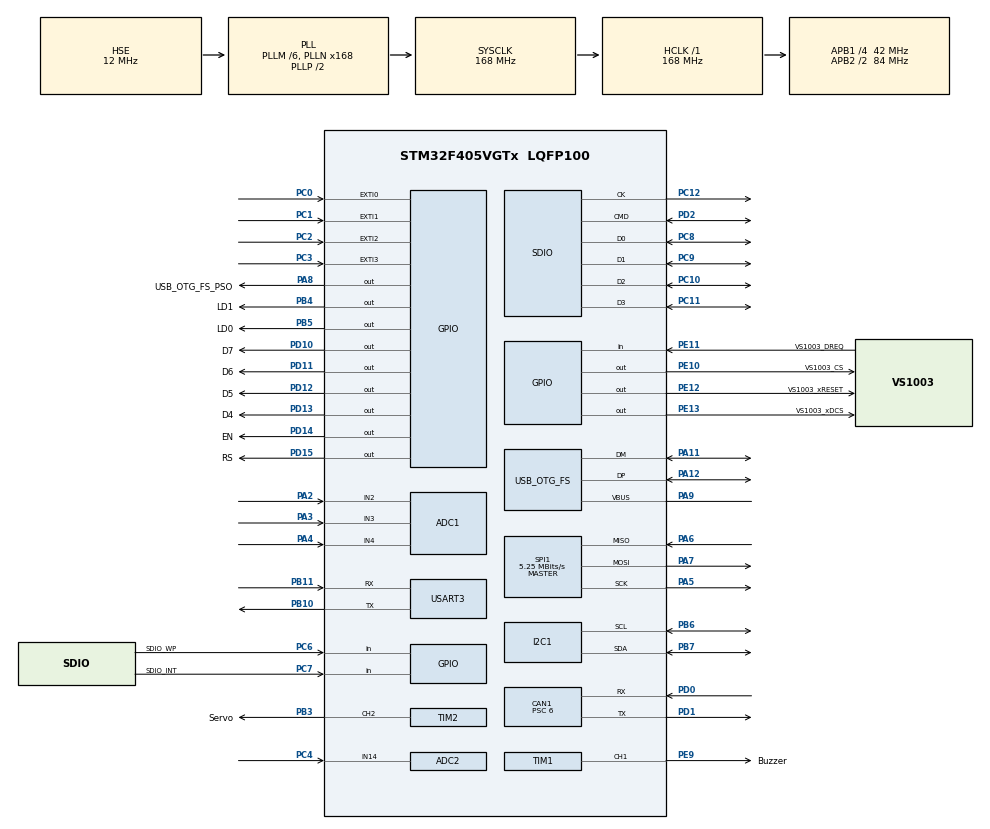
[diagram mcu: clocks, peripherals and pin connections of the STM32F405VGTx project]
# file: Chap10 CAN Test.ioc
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ADC1.Channel-0\#ChannelRegularConversion=ADC_CHANNEL_2
ADC1.Channel-1\#ChannelRegularConversion=ADC_CHANNEL_3
ADC1.Channel-2\#ChannelRegularConversion=ADC_CHANNEL_4
ADC1.ClockPrescaler=ADC_CLOCK_SYNC_PCLK_DIV4
ADC1.ContinuousConvMode=ENABLE
ADC1.DMAContinuousRequests=ENABLE
ADC1.DiscontinuousConvMode=DISABLE
ADC1.EnableAnalogWatchDog=false
ADC1.InjNumberOfConversion=0
ADC1.NbrOfConversion=3
ADC1.NbrOfConversionFlag=1
ADC1.Rank-0\#ChannelRegularConversion=1
ADC1.Rank-1\#ChannelRegularConversion=2
ADC1.Rank-2\#ChannelRegularConversion=3
ADC1.SamplingTime-0\#ChannelRegularConversion=ADC_SAMPLETIME_84CYCLES
ADC1.SamplingTime-1\#ChannelRegularConversion=ADC_SAMPLETIME_84CYCLES
ADC1.SamplingTime-2\#ChannelRegularConversion=ADC_SAMPLETIME_84CYCLES
ADC1.ScanConvMode=ENABLE
ADC1.master=1
ADC2.Channel-1\#ChannelRegularConversion=ADC_CHANNEL_14
ADC2.ClockPrescaler=ADC_CLOCK_SYNC_PCLK_DIV4
ADC2.ContinuousConvMode=ENABLE
ADC2.DMAContinuousRequests=ENABLE
ADC2.NbrOfConversionFlag=1
ADC2.Rank-1\#ChannelRegularConversion=1
ADC2.SamplingTime-1\#ChannelRegularConversion=ADC_SAMPLETIME_84CYCLES
ADC2.ScanConvMode=DISABLE
CAN1.BS1=CAN_BS1_11TQ
CAN1.BS2=CAN_BS2_2TQ
CAN1.CalculateBaudRate=500000
CAN1.CalculateTimeBit=2000
CAN1.CalculateTimeQuantum=142.85714285714286
CAN1.Prescaler=6
CAN1.SJW=CAN_SJW_1TQ
Dma.ADC1.0.Direction=DMA_PERIPH_TO_MEMORY
Dma.ADC1.0.FIFOMode=DMA_FIFOMODE_DISABLE
Dma.ADC1.0.Instance=DMA2_Stream0
Dma.ADC1.0.MemDataAlignment=DMA_MDATAALIGN_HALFWORD
Dma.ADC1.0.MemInc=DMA_MINC_ENABLE
Dma.ADC1.0.Mode=DMA_CIRCULAR
Dma.ADC1.0.PeriphDataAlignment=DMA_PDATAALIGN_HALFWORD
Dma.ADC1.0.PeriphInc=DMA_PINC_DISABLE
Dma.ADC1.0.Priority=DMA_PRIORITY_LOW
Dma.ADC2.1.Direction=DMA_PERIPH_TO_MEMORY
Dma.ADC2.1.FIFOMode=DMA_FIFOMODE_DISABLE
Dma.ADC2.1.Instance=DMA2_Stream2
Dma.ADC2.1.MemDataAlignment=DMA_MDATAALIGN_HALFWORD
Dma.ADC2.1.MemInc=DMA_MINC_DISABLE
Dma.ADC2.1.Mode=DMA_CIRCULAR
Dma.ADC2.1.PeriphDataAlignment=DMA_PDATAALIGN_HALFWORD
Dma.ADC2.1.PeriphInc=DMA_PINC_DISABLE
Dma.ADC2.1.Priority=DMA_PRIORITY_LOW
Dma.Request0=ADC1
Dma.Request1=ADC2
Dma.Request2=SDIO_RX
Dma.Request3=SDIO_TX
Dma.SDIO_RX.2.Direction=DMA_PERIPH_TO_MEMORY
Dma.SDIO_RX.2.FIFOMode=DMA_FIFOMODE_ENABLE
Dma.SDIO_RX.2.FIFOThreshold=DMA_FIFO_THRESHOLD_FULL
Dma.SDIO_RX.2.Instance=DMA2_Stream3
Dma.SDIO_RX.2.MemBurst=DMA_MBURST_INC4
Dma.SDIO_RX.2.MemDataAlignment=DMA_MDATAALIGN_WORD
Dma.SDIO_RX.2.MemInc=DMA_MINC_ENABLE
Dma.SDIO_RX.2.Mode=DMA_PFCTRL
Dma.SDIO_RX.2.PeriphBurst=DMA_PBURST_INC4
Dma.SDIO_RX.2.PeriphDataAlignment=DMA_PDATAALIGN_WORD
Dma.SDIO_RX.2.PeriphInc=DMA_PINC_DISABLE
Dma.SDIO_RX.2.Priority=DMA_PRIORITY_LOW
Dma.SDIO_TX.3.Direction=DMA_MEMORY_TO_PERIPH
Dma.SDIO_TX.3.FIFOMode=DMA_FIFOMODE_ENABLE
Dma.SDIO_TX.3.FIFOThreshold=DMA_FIFO_THRESHOLD_FULL
Dma.SDIO_TX.3.Instance=DMA2_Stream6
Dma.SDIO_TX.3.MemBurst=DMA_MBURST_INC4
Dma.SDIO_TX.3.MemDataAlignment=DMA_MDATAALIGN_WORD
Dma.SDIO_TX.3.MemInc=DMA_MINC_ENABLE
Dma.SDIO_TX.3.Mode=DMA_PFCTRL
Dma.SDIO_TX.3.PeriphBurst=DMA_PBURST_INC4
Dma.SDIO_TX.3.PeriphDataAlignment=DMA_PDATAALIGN_WORD
Dma.SDIO_TX.3.PeriphInc=DMA_PINC_DISABLE
Dma.SDIO_TX.3.Priority=DMA_PRIORITY_LOW
FATFS.USE_DMA_CODE_SD=1
FATFS._MAX_SS=4096
FATFS._USE_LFN=1
I2C1.I2C_Mode=I2C_Fast
Mcu.Family=STM32F4
Mcu.Name=STM32F405VGTx
Mcu.Package=LQFP100
NVIC.CAN1_RX0_IRQn=true\:0\:0\:false\:true\:true\:8\:true\:true\:true
NVIC.DMA2_Stream0_IRQn=true\:0\:0\:false\:false\:true\:false\:true\:true
NVIC.DMA2_Stream2_IRQn=true\:0\:0\:false\:false\:true\:false\:true\:true
NVIC.DMA2_Stream3_IRQn=true\:0\:0\:false\:false\:true\:false\:true\:true
NVIC.DMA2_Stream6_IRQn=true\:0\:0\:false\:false\:true\:false\:true\:true
NVIC.EXTI0_IRQn=true\:0\:0\:false\:true\:true\:1\:true\:true\:true
NVIC.EXTI1_IRQn=true\:0\:0\:false\:true\:true\:2\:true\:true\:true
NVIC.EXTI2_IRQn=true\:0\:0\:false\:true\:true\:3\:true\:true\:true
NVIC.EXTI3_IRQn=true\:0\:0\:false\:true\:true\:7\:true\:true\:true
NVIC.OTG_FS_IRQn=true\:0\:0\:false\:false\:true\:false\:true\:true
NVIC.PriorityGroup=NVIC_PRIORITYGROUP_4
NVIC.SDIO_IRQn=true\:0\:0\:false\:false\:true\:true\:true\:true
NVIC.TIM6_DAC_IRQn=true\:0\:0\:false\:true\:true\:5\:true\:true\:true
NVIC.TIM7_IRQn=true\:0\:0\:false\:true\:true\:6\:true\:true\:true
NVIC.USART3_IRQn=true\:0\:0\:false\:true\:true\:4\:true\:true\:true
PA11.Mode=Host_Only
PA11.Signal=USB_OTG_FS_DM
PA12.Mode=Host_Only
PA12.Signal=USB_OTG_FS_DP
PA2.Signal=ADCx_IN2
PA3.Signal=ADCx_IN3
PA4.Signal=ADCx_IN4
PA5.Mode=Full_Duplex_Master
PA5.Signal=SPI1_SCK
PA6.Mode=Full_Duplex_Master
PA6.Signal=SPI1_MISO
PA7.Mode=Full_Duplex_Master
PA7.Signal=SPI1_MOSI
PA8.GPIO_Label=USB_OTG_FS_PSO
PA8.Signal=GPIO_Output
PA9.Mode=Activate_VBUS
PA9.Signal=USB_OTG_FS_VBUS
PB10.Mode=Asynchronous
PB10.Signal=USART3_TX
PB11.Mode=Asynchronous
PB11.Signal=USART3_RX
PB3.GPIO_Label=Servo
PB3.Signal=S_TIM2_CH2
PB4.GPIO_Label=LD1
PB4.Signal=GPIO_Output
PB5.GPIO_Label=LD0
PB5.Signal=GPIO_Output
PB6.Mode=I2C
PB6.Signal=I2C1_SCL
PB7.Mode=I2C
PB7.Signal=I2C1_SDA
PC0.GPIO_ModeDefaultEXTI=GPIO_MODE_IT_FALLING
PC0.Signal=GPXTI0
PC1.GPIO_ModeDefaultEXTI=GPIO_MODE_IT_FALLING
PC1.Signal=GPXTI1
PC10.Mode=SD_4_bits_Wide_bus
PC10.Signal=SDIO_D2
PC11.Mode=SD_4_bits_Wide_bus
PC11.Signal=SDIO_D3
PC12.Mode=SD_4_bits_Wide_bus
PC12.Signal=SDIO_CK
PC2.GPIO_ModeDefaultEXTI=GPIO_MODE_IT_FALLING
PC2.Signal=GPXTI2
PC3.Signal=GPXTI3
PC4.Signal=ADCx_IN14
PC6.GPIO_Label=SDIO_WP
PC6.Signal=GPIO_Input
PC7.GPIO_Label=SDIO_INT
PC7.Signal=GPIO_Input
PC8.Mode=SD_4_bits_Wide_bus
PC8.Signal=SDIO_D0
PC9.Mode=SD_4_bits_Wide_bus
PC9.Signal=SDIO_D1
PD0.Mode=CAN_Activate
PD0.Signal=CAN1_RX
PD1.Mode=CAN_Activate
PD1.Signal=CAN1_TX
PD10.GPIO_Label=D7
PD10.Signal=GPIO_Output
PD11.GPIO_Label=D6
PD11.Signal=GPIO_Output
PD12.GPIO_Label=D5
PD12.Signal=GPIO_Output
PD13.GPIO_Label=D4
PD13.Signal=GPIO_Output
PD14.GPIO_Label=EN
PD14.Signal=GPIO_Output
PD15.GPIO_Label=RS
PD15.Signal=GPIO_Output
PD2.Mode=SD_4_bits_Wide_bus
PD2.Signal=SDIO_CMD
PE10.GPIO_Label=VS1003_CS
PE10.Signal=GPIO_Output
PE11.GPIO_Label=VS1003_DREQ
PE11.Signal=GPIO_Input
PE12.GPIO_Label=VS1003_xRESET
PE12.Signal=GPIO_Output
PE13.GPIO_Label=VS1003_xDCS
PE13.Signal=GPIO_Output
PE9.GPIO_Label=Buzzer
PE9.Signal=S_TIM1_CH1
PH0-OSC_IN.Mode=HSE-External-Oscillator
PH0-OSC_IN.Signal=RCC_OSC_IN
PH1-OSC_OUT.Mode=HSE-External-Oscillator
PH1-OSC_OUT.Signal=RCC_OSC_OUT
ProjectManager.HeapSize=0x200
ProjectManager.StackSize=0x400
ProjectManager.TargetToolchain=STM32CubeIDE
RCC.48MHZClocksFreq_Value=48000000
RCC.AHBFreq_Value=168000000
RCC.APB1CLKDivider=RCC_HCLK_DIV4
RCC.APB1Freq_Value=42000000
RCC.APB1TimFreq_Value=84000000
RCC.APB2CLKDivider=RCC_HCLK_DIV2
RCC.APB2Freq_Value=84000000
RCC.APB2TimFreq_Value=168000000
RCC.CortexFreq_Value=168000000
RCC.HCLKFreq_Value=168000000
RCC.HSE_VALUE=12000000
RCC.HSI_VALUE=16000000
RCC.LSE_VALUE=32768
RCC.PLLM=6
RCC.PLLN=168
RCC.PLLQ=7
RCC.SYSCLKFreq_VALUE=168000000
RCC.SYSCLKSource=RCC_SYSCLKSOURCE_PLLCLK
RCC.VCOOutputFreq_Value=336000000
SH.ADCx_IN14.0=ADC2_IN14,IN14
SH.ADCx_IN2.0=ADC1_IN2,IN2
SH.ADCx_IN3.0=ADC1_IN3,IN3
SH.ADCx_IN4.0=ADC1_IN4,IN4
SH.S_TIM1_CH1.0=TIM1_CH1,PWM Generation1 CH1
SH.S_TIM2_CH2.0=TIM2_CH2,PWM Generation2 CH2
SPI1.BaudRatePrescaler=SPI_BAUDRATEPRESCALER_16
SPI1.CalculateBaudRate=5.25 MBits/s
SPI1.Direction=SPI_DIRECTION_2LINES
SPI1.Mode=SPI_MODE_MASTER
SPI1.VirtualType=VM_MASTER
TIM1.Channel-PWM\ Generation1\ CH1=TIM_CHANNEL_1
TIM1.Period=999
TIM1.Prescaler=167
TIM1.Pulse-PWM\ Generation1\ CH1=500
TIM2.Channel-PWM\ Generation2\ CH2=TIM_CHANNEL_2
TIM2.Period=10000-1
TIM2.Prescaler=168-1
TIM2.Pulse-PWM\ Generation2\ CH2=100
TIM4.Prescaler=83
TIM6.AutoReloadPreload=TIM_AUTORELOAD_PRELOAD_DISABLE
TIM6.Period=10000-1
TIM6.Prescaler=8400-1
TIM7.Period=9999
TIM7.Prescaler=4200-1
USART3.VirtualMode=VM_ASYNC
USB_HOST.USBH_HandleTypeDef-MSC_FS=hUsbHostFS
USB_HOST.VirtualModeFS=Msc
USB_OTG_FS.Sof_enable=DISABLE
USB_OTG_FS.VirtualMode=Host_Only
USB_OTG_FS.phy_itface=HCD_PHY_EMBEDDED
VP_FATFS_VS_SDIO.Mode=SDIO
VP_FATFS_VS_USB.Mode=USB
VP_TIM1_VS_ClockSourceINT.Mode=Internal
VP_TIM2_VS_ClockSourceINT.Mode=Internal
VP_TIM4_VS_ClockSourceINT.Mode=Internal
VP_TIM6_VS_ClockSourceINT.Mode=Enable_Timer
VP_TIM7_VS_ClockSourceINT.Mode=Enable_Timer
VP_USB_HOST_VS_USB_HOST_MSC_FS.Mode=MSC_FS
board=custom

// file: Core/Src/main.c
/* USER CODE BEGIN Header */
/**
  ******************************************************************************
  * @file           : main.c
  * @brief          : Main program body
  ******************************************************************************
  * @attention
  *
  * Copyright (c) 2025 STMicroelectronics.
  * All rights reserved.
  *
  * This software is licensed under terms that can be found in the LICENSE file
  * in the root directory of this software component.
  * If no LICENSE file comes with this software, it is provided AS-IS.
  *
  ******************************************************************************
  */
/* USER CODE END Header */
#include "main.h"
#include "adc.h"
#include "can.h"
#include "dma.h"
#include "fatfs.h"
#include "i2c.h"
#include "sdio.h"
#include "spi.h"
#include "tim.h"
#include "usart.h"
#include "usb_host.h"
#include "gpio.h"

/* USER CODE BEGIN Includes */
#include "stdio.h"
#include "string.h"
#include "CLCD.h"
#include "VS1003.h"
#include "AS6221.h"

/* USER CODE END Includes */

/* USER CODE BEGIN PD */
#define AS6221_ADDR1        (0x48 << 1)
#define AS6221_ADDR2        (0x49 << 1)

/* USER CODE END PD */

/* USER CODE BEGIN PM */
int _write(int file, char* p, int len){
	HAL_UART_Transmit(&huart3, p, len, 10);
	return len;
}

/* USER CODE END PM */

/* USER CODE BEGIN PV */
uint8_t rx_data = 0;
uint8_t lcd_flag = 0;

uint16_t adc1_val[3] = {0,};
uint16_t adc2_val = 0;

volatile uint8_t sw0_flag = 0;
volatile uint8_t sw1_flag = 0;
volatile uint8_t sw2_flag = 0;
volatile uint8_t sw3_flag = 0;

volatile uint8_t can1_rx0_flag = 0;

uint32_t bytesWritten, bytesRead;
extern ApplicationTypeDef Appli_state;

uint8_t NEXT = 0;

uint8_t str[21];

AS6221_t as6221[2];

/* USER CODE END PV */

void SystemClock_Config(void);
static void MX_NVIC_Init(void);
void MX_USB_HOST_Process(void);

/* USER CODE BEGIN 0 */
long map(long x, long in_min, long in_max, long out_min, long out_max) {
  return (x - in_min) * (out_max - out_min) / (in_max - in_min) + out_min;
}

/* USER CODE END 0 */

int main(void)
{

  /* MCU Configuration--------------------------------------------------------*/

  /* Reset of all peripherals, Initializes the Flash interface and the Systick. */
  HAL_Init();

  /* Configure the system clock */
  SystemClock_Config();

  /* Initialize all configured peripherals */
  MX_GPIO_Init();
  MX_DMA_Init();
  MX_USART3_UART_Init();
  MX_TIM4_Init();
  MX_ADC1_Init();
  MX_ADC2_Init();
  MX_TIM1_Init();
  MX_TIM6_Init();
  MX_TIM7_Init();
  MX_TIM2_Init();
  MX_FATFS_Init();
  MX_USB_HOST_Init();
  MX_SDIO_SD_Init();
  MX_SPI1_Init();
  MX_I2C1_Init();
  MX_CAN1_Init();

  /* Initialize interrupts */
  MX_NVIC_Init();
  /* USER CODE BEGIN 2 */
  HAL_TIM_Base_Start_IT(&htim6);
//  HAL_TIM_Base_Start_IT(&htim7);

  lcd_Init(20, 4);
  lcd_clear();

  as6221[0].address = AS6221_ADDR1;
  as6221[0].CR = ConvPer125ms;
  as6221[0].CF = Quadruple;
  as6221[0].SM = false;
  as6221[0].IM = false;
  as6221[0].POL = false;
  as6221[0].SS = false;

  as6221[1] = as6221[0];
  as6221[1].address = AS6221_ADDR2;

  AS6221_Init(&as6221[0]);
  AS6221_Init(&as6221[1]);

  // FilterScale을 16bit로 할 경우 상위 하위 데이터는 의미 없고 필터가 2쌍이 되는것임(32bit일 경우 유효해짐)
  canFilter1.FilterMaskIdHigh = 0x538 << 5;
  canFilter1.FilterMaskIdLow = 0x538 << 5;
  canFilter1.FilterIdHigh = 0x3AA << 5;
  canFilter1.FilterIdLow = 0x3AA << 5;
  canFilter1.FilterMode = CAN_FILTERMODE_IDMASK; // ID List, ID Mask 모드중 Mask 모드로 설정
  canFilter1.FilterScale = CAN_FILTERSCALE_16BIT; // 필터 스케일을 16bit로 설정
  canFilter1.FilterFIFOAssignment = CAN_FILTER_FIFO0; // FIFO 0번을 사용
  canFilter1.FilterBank = 0; // 0번 필터 규칙으로 설정
  canFilter1.FilterActivation = ENABLE; // 설정된 필터 값 활성화 여부 설정(즉시 활성화)

  HAL_CAN_ConfigFilter(&hcan1, &canFilter1); // 설정한 필터값 전달
  HAL_CAN_ActivateNotification(&hcan1, CAN_IT_RX_FIFO0_MSG_PENDING); // CAN 수신 인터럽트 활성화
  HAL_CAN_Start(&hcan1); // CAN 버스 활성화

  /* USER CODE END 2 */

  /* Infinite loop */
  while (1)
  {
    MX_USB_HOST_Process();

    /* USER CODE BEGIN 3 */
    if(lcd_flag) {
    	lcd_flag = false;
		AS6221_ReadTemperature(&as6221[0]);
		AS6221_ReadTemperature(&as6221[1]);

		int16_t temp1_int = (int16_t)(as6221[0].Temp * 100);
		int16_t temp2_int = (int16_t)(as6221[1].Temp * 100);

		can1Tx0Data[0] = temp1_int & 0xFF; // Temp 1 하위 바이트
		can1Tx0Data[1] = (temp1_int >> 8) & 0xFF; // Temp 1 위 바이트

		can1Tx0Data[2] = temp2_int & 0xFF; // Temp 2 하위 바이트
		can1Tx0Data[3] = (temp2_int >> 8) & 0xFF; // Temp 2 하위 바이트
    }

    if(can1_rx0_flag) {
   		  can1_rx0_flag = false;

		  int16_t raw_temp1 = (can1Rx0Data[1] << 8) | can1Rx0Data[0];
		  int16_t raw_temp2 = (can1Rx0Data[3] << 8) | can1Rx0Data[2];

		  double f_temp1 = raw_temp1 / 100.0f;
		  double f_temp2 = raw_temp2 / 100.0f;

		  lcd_clear();

   		  sprintf(str, "Rx ID:0x%3X", canRxHeader.StdId);
   		  lcd_setCurStr(0, 0, str);

		  sprintf(str, "Temp1: %.2f C", f_temp1);
		  lcd_setCurStr(0, 1, str);

		  sprintf(str, "Temp2: %.2f C", f_temp2);
		  lcd_setCurStr(0, 2, str);
    }

    if(sw0_flag) {
    	sw0_flag = false;

    	lcd_clear();
    	canTxHeader.StdId = 0x1EB; // 수신 가능한 ID로 설정
    	canTxHeader.RTR = CAN_RTR_DATA; // 데이터 송신 혹은 요청 모드로 설정 가능
    	canTxHeader.IDE = CAN_ID_STD; // ID를 11bit Mode로 사용
    	canTxHeader.DLC = 4; // 데이터 길이 설정

    	// 실제로 보낼 데이터를 보내는 MailBox는 3개가 있는데 그중 Free한 메일박스를 찾는 함수
    	TxMailBox = HAL_CAN_GetTxMailboxesFreeLevel(&hcan1);

    	//앞서 설정한 구조체와 데이터 주소를 받아 실제로 데이터를 전송하는 함수
    	HAL_CAN_AddTxMessage(&hcan1, &canTxHeader, &can1Tx0Data[0], &TxMailBox);
    }
    else if(sw1_flag) {
    	sw1_flag = false;

    	lcd_clear();
    	canTxHeader.StdId = 0x6AD; // 수신 불가능한 ID로 설정
    	canTxHeader.RTR = CAN_RTR_DATA; // 데이터 송신 혹은 요청 모드로 설정 가능
    	canTxHeader.IDE = CAN_ID_STD; // ID를 11bit Mode로 사용
    	canTxHeader.DLC = 4; // 데이터 길이 설정

    	// 실제로 보낼 데이터를 보내는 MailBox는 3개가 있는데 그중 Free한 메일박스를 찾는 함수
    	TxMailBox = HAL_CAN_GetTxMailboxesFreeLevel(&hcan1);

    	//앞서 설정한 구조체와 데이터 주소를 받아 실제로 데이터를 전송하는 함수
    	HAL_CAN_AddTxMessage(&hcan1, &canTxHeader, &can1Tx0Data[0], &TxMailBox);
    }
  }
  /* USER CODE END 3 */
}

void SystemClock_Config(void)
{
  RCC_OscInitTypeDef RCC_OscInitStruct = {0};
  RCC_ClkInitTypeDef RCC_ClkInitStruct = {0};

  /** Configure the main internal regulator output voltage
  */
  __HAL_RCC_PWR_CLK_ENABLE();
  __HAL_PWR_VOLTAGESCALING_CONFIG(PWR_REGULATOR_VOLTAGE_SCALE1);

  /** Initializes the RCC Oscillators according to the specified parameters
  * in the RCC_OscInitTypeDef structure.
  */
  RCC_OscInitStruct.OscillatorType = RCC_OSCILLATORTYPE_HSE;
  RCC_OscInitStruct.HSEState = RCC_HSE_ON;
  RCC_OscInitStruct.PLL.PLLState = RCC_PLL_ON;
  RCC_OscInitStruct.PLL.PLLSource = RCC_PLLSOURCE_HSE;
  RCC_OscInitStruct.PLL.PLLM = 6;
  RCC_OscInitStruct.PLL.PLLN = 168;
  RCC_OscInitStruct.PLL.PLLP = RCC_PLLP_DIV2;
  RCC_OscInitStruct.PLL.PLLQ = 7;
  if (HAL_RCC_OscConfig(&RCC_OscInitStruct) != HAL_OK)
  {
    Error_Handler();
  }

  /** Initializes the CPU, AHB and APB buses clocks
  */
  RCC_ClkInitStruct.ClockType = RCC_CLOCKTYPE_HCLK|RCC_CLOCKTYPE_SYSCLK
                              |RCC_CLOCKTYPE_PCLK1|RCC_CLOCKTYPE_PCLK2;
  RCC_ClkInitStruct.SYSCLKSource = RCC_SYSCLKSOURCE_PLLCLK;
  RCC_ClkInitStruct.AHBCLKDivider = RCC_SYSCLK_DIV1;
  RCC_ClkInitStruct.APB1CLKDivider = RCC_HCLK_DIV4;
  RCC_ClkInitStruct.APB2CLKDivider = RCC_HCLK_DIV2;

  if (HAL_RCC_ClockConfig(&RCC_ClkInitStruct, FLASH_LATENCY_5) != HAL_OK)
  {
    Error_Handler();
  }
}

/**
  * @brief NVIC Configuration.
  * @retval None
  */
static void MX_NVIC_Init(void)
{
  /* EXTI0_IRQn interrupt configuration */
  HAL_NVIC_SetPriority(EXTI0_IRQn, 0, 0);
  HAL_NVIC_EnableIRQ(EXTI0_IRQn);
  /* EXTI1_IRQn interrupt configuration */
  HAL_NVIC_SetPriority(EXTI1_IRQn, 0, 0);
  HAL_NVIC_EnableIRQ(EXTI1_IRQn);
  /* EXTI2_IRQn interrupt configuration */
  HAL_NVIC_SetPriority(EXTI2_IRQn, 0, 0);
  HAL_NVIC_EnableIRQ(EXTI2_IRQn);
  /* USART3_IRQn interrupt configuration */
  HAL_NVIC_SetPriority(USART3_IRQn, 0, 0);
  HAL_NVIC_EnableIRQ(USART3_IRQn);
  /* TIM6_DAC_IRQn interrupt configuration */
  HAL_NVIC_SetPriority(TIM6_DAC_IRQn, 0, 0);
  HAL_NVIC_EnableIRQ(TIM6_DAC_IRQn);
  /* TIM7_IRQn interrupt configuration */
  HAL_NVIC_SetPriority(TIM7_IRQn, 0, 0);
  HAL_NVIC_EnableIRQ(TIM7_IRQn);
  /* EXTI3_IRQn interrupt configuration */
  HAL_NVIC_SetPriority(EXTI3_IRQn, 0, 0);
  HAL_NVIC_EnableIRQ(EXTI3_IRQn);
  /* CAN1_RX0_IRQn interrupt configuration */
  HAL_NVIC_SetPriority(CAN1_RX0_IRQn, 0, 0);
  HAL_NVIC_EnableIRQ(CAN1_RX0_IRQn);
}

/* USER CODE BEGIN 4 */
void HAL_GPIO_EXTI_Callback(uint16_t GPIO_Pin)
{
	if(GPIO_Pin == GPIO_PIN_0) {
		HAL_GPIO_TogglePin(LD0_GPIO_Port, LD0_Pin);
		sw0_flag = 1;
	}
	else if(GPIO_Pin == GPIO_PIN_1) {
		sw1_flag = 1;
		HAL_GPIO_TogglePin(LD0_GPIO_Port, LD0_Pin);

	}
	else if(GPIO_Pin == GPIO_PIN_2) {
		sw2_flag = 1;
		HAL_GPIO_TogglePin(LD0_GPIO_Port, LD0_Pin);
	}
	else if(GPIO_Pin == GPIO_PIN_3) {
		sw3_flag = 1;
		HAL_GPIO_TogglePin(LD0_GPIO_Port, LD0_Pin);
	}
}

void HAL_UART_RxCpltCallback(UART_HandleTypeDef *huart)
{
	if(huart->Instance == USART3) {
		HAL_UART_Receive_IT(&huart3, &rx_data, 1);
		HAL_UART_Transmit(&huart3, &rx_data, 1, 1000);
	}
}

void HAL_TIM_PeriodElapsedCallback(TIM_HandleTypeDef *htim)
{
	if(htim -> Instance == TIM6) {
		lcd_flag = 1;
	}
	if(htim -> Instance == TIM7) {

	}
}

void HAL_CAN_RxFifo0MsgPendingCallback(CAN_HandleTypeDef *hcan)
{
	if(hcan->Instance == CAN1)
	{
		HAL_CAN_GetRxMessage(&hcan1, CAN_RX_FIFO0, &canRxHeader, &can1Rx0Data[0]);
		can1_rx0_flag = 1;
	}
}

/* USER CODE END 4 */

void Error_Handler(void)
{
  /* USER CODE BEGIN Error_Handler_Debug */
  /* User can add his own implementation to report the HAL error return state */
  __disable_irq();
  while (1)
  {
	  HAL_GPIO_TogglePin(LD1_GPIO_Port, LD1_Pin);
	  HAL_Delay(1000);
  }
  /* USER CODE END Error_Handler_Debug */
}
